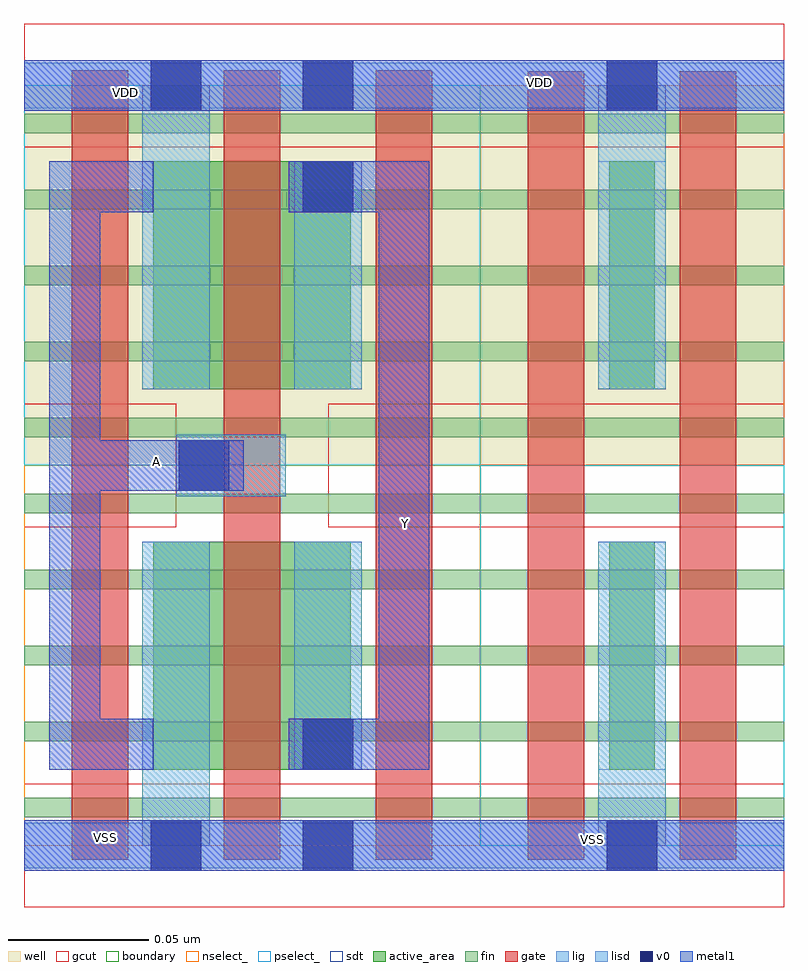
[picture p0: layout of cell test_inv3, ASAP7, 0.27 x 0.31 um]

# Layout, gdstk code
import gdstk
lib = gdstk.Library(unit=1e-6, precision=2.5e-10)
def R(c, l, rs):  # rectangles x0, y0, x1, y1
    for r in rs: c.add(gdstk.rectangle(r[:2], r[2:], *l))
def A(c, l, x, y, w, h, nx, ny, dx, dy):  # array of equal rectangles
    R(c, l, [(x+i*dx, y+j*dy, x+i*dx+w, y+j*dy+h) for i in range(nx) for j in range(ny)])
def P(c, l, *ps):  # polygons
    for p in ps: c.add(gdstk.Polygon(p, *l))
well = (1, 0)
fin = (2, 0)
gate = (7, 0)
gcut = (10, 0)
active_area = (11, 0)
nselect_ = (12, 0)
pselect_ = (13, 0)
lig = (16, 0)
lisd = (17, 0)
v0 = (18, 0)
metal1 = (19, 0)
sdt = (88, 0)
boundary = (100, 0)

test_inv3 = lib.new_cell('test_inv3')
R(test_inv3, well, [(0,0.135,0.162,0.27), (0.162,0.135,0.27,0.27)])
A(test_inv3, fin, 0, 0.01, 0.162, 0.007, 1, 10, 0, 0.027)
A(test_inv3, fin, 0.162, 0.01, 0.108, 0.007, 1, 10, 0, 0.027)
A(test_inv3, gate, 0.017, -0.005, 0.02, 0.2805, 3, 1, 0.054, 0)
R(test_inv3, gate, [(0.179,-0.005,0.199,0.275), (0.233,-0.005,0.253,0.275)])
A(test_inv3, gcut, 0.162, -0.022, 0.108, 0.044, 1, 3, 0, 0.135)
R(test_inv3, gcut, [(0,-0.022,0.162,0.022), (0,0.113,0.054,0.157), (0.108,0.113,0.162,0.157), (0,0.248,0.162,0.292)])
R(test_inv3, active_area, [(0.046,0.027,0.116,0.108), (0.208,0.027,0.224,0.108), (0.046,0.162,0.116,0.243), (0.208,0.162,0.224,0.243)])
R(test_inv3, nselect_, [(0,0,0.162,0.135), (0.162,0.135,0.27,0.27)])
R(test_inv3, pselect_, [(0.162,0,0.27,0.135), (0,0.135,0.162,0.27)])
R(test_inv3, lig, [(0,-0.008,0.162,0.008), (0.162,-0.008,0.27,0.008), (0.054,0.124,0.093,0.146), (0,0.262,0.162,0.278), (0.162,0.262,0.27,0.278)])
R(test_inv3, lisd, [(0.042,0,0.066,0.108), (0.204,0,0.228,0.108), (0.096,0.027,0.12,0.108), (0.042,0.162,0.066,0.27), (0.096,0.162,0.12,0.243), (0.204,0.162,0.228,0.27)])
R(test_inv3, v0, [(0.045,-0.009,0.063,0.009), (0.099,-0.009,0.117,0.009), (0.207,-0.009,0.225,0.009), (0.099,0.027,0.117,0.045), (0.055,0.126,0.073,0.144), (0.099,0.225,0.117,0.243), (0.045,0.261,0.063,0.279), (0.099,0.261,0.117,0.279), (0.207,0.261,0.225,0.279)])
R(test_inv3, metal1, [(0,-0.009,0.179,0.009), (0.162,-0.009,0.27,0.009), (0,0.261,0.178,0.279), (0.162,0.261,0.27,0.279)])
P(test_inv3, metal1, [(0.144,0.243),(0.094,0.243),(0.094,0.225),(0.126,0.225),(0.126,0.045),(0.094,0.045),(0.094,0.027),(0.144,0.027)],
  [(0.078,0.144),(0.027,0.144),(0.027,0.225),(0.046,0.225),(0.046,0.243),(0.009,0.243),(0.009,0.027),(0.046,0.027),(0.046,0.045),(0.027,0.045),(0.027,0.126),(0.078,0.126)])
R(test_inv3, sdt, [(0.042,0.027,0.066,0.108), (0.096,0.027,0.12,0.108), (0.204,0.027,0.228,0.108), (0.042,0.162,0.066,0.243), (0.096,0.162,0.12,0.243), (0.204,0.162,0.228,0.243)])
R(test_inv3, boundary, [(0,0,0.162,0.27), (0.162,0,0.27,0.27)])
test_inv3.add(gdstk.Label('VDD', (0.183,0.271), layer=19, texttype=251))
test_inv3.add(gdstk.Label('VSS', (0.202,0.002), layer=19, texttype=251))
test_inv3.add(gdstk.Label('Y', (0.1355,0.1145), layer=19, texttype=251))
test_inv3.add(gdstk.Label('A', (0.047,0.1365), layer=19, texttype=251))
test_inv3.add(gdstk.Label('VDD', (0.036,0.2675), layer=19, texttype=251))
test_inv3.add(gdstk.Label('VSS', (0.029,0.003), layer=19, texttype=251))

lib.write_gds('test_inv3.gds')
